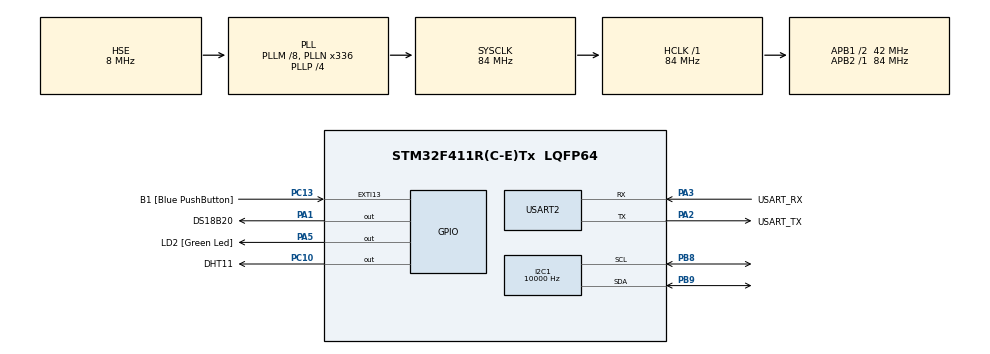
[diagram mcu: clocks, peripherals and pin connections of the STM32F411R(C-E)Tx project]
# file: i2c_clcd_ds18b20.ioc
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I2C1.ClockSpeed=10000
Mcu.Family=STM32F4
Mcu.Name=STM32F411R(C-E)Tx
Mcu.Package=LQFP64
NVIC.PriorityGroup=NVIC_PRIORITYGROUP_0
PA1.GPIO_Label=DS18B20
PA1.Signal=GPIO_Output
PA13.GPIO_Label=TMS
PA13.Mode=Serial_Wire
PA13.Signal=SYS_JTMS-SWDIO
PA14.GPIO_Label=TCK
PA14.Mode=Serial_Wire
PA14.Signal=SYS_JTCK-SWCLK
PA2.GPIO_Label=USART_TX
PA2.Mode=Asynchronous
PA2.Signal=USART2_TX
PA3.GPIO_Label=USART_RX
PA3.Mode=Asynchronous
PA3.Signal=USART2_RX
PA5.GPIO_Label=LD2 [Green Led]
PA5.Signal=GPIO_Output
PB3.GPIO_Label=SWO
PB3.Signal=SYS_JTDO-SWO
PB8.Mode=I2C
PB8.Signal=I2C1_SCL
PB9.Mode=I2C
PB9.Signal=I2C1_SDA
PC10.GPIO_Label=DHT11
PC10.Signal=GPIO_Output
PC13-ANTI_TAMP.GPIO_Label=B1 [Blue PushButton]
PC13-ANTI_TAMP.GPIO_ModeDefaultEXTI=GPIO_MODE_IT_FALLING
PC13-ANTI_TAMP.Signal=GPXTI13
PC14-OSC32_IN.Mode=LSE-External-Oscillator
PC14-OSC32_IN.Signal=RCC_OSC32_IN
PC15-OSC32_OUT.Mode=LSE-External-Oscillator
PC15-OSC32_OUT.Signal=RCC_OSC32_OUT
PH0\ -\ OSC_IN.Mode=HSE-External-Oscillator
PH0\ -\ OSC_IN.Signal=RCC_OSC_IN
PH1\ -\ OSC_OUT.Mode=HSE-External-Oscillator
PH1\ -\ OSC_OUT.Signal=RCC_OSC_OUT
ProjectManager.HeapSize=0x200
ProjectManager.StackSize=0x400
ProjectManager.TargetToolchain=STM32CubeIDE
RCC.48MHZClocksFreq_Value=84000000
RCC.AHBFreq_Value=84000000
RCC.APB1CLKDivider=RCC_HCLK_DIV2
RCC.APB1Freq_Value=42000000
RCC.APB1TimFreq_Value=84000000
RCC.APB2Freq_Value=84000000
RCC.APB2TimFreq_Value=84000000
RCC.CortexFreq_Value=84000000
RCC.FLatency-AdvancedSettings=FLASH_LATENCY_2
RCC.HCLKFreq_Value=84000000
RCC.HSE_VALUE=8000000
RCC.HSI_VALUE=16000000
RCC.PLLM=8
RCC.PLLN=336
RCC.PLLP=RCC_PLLP_DIV4
RCC.PLLSourceVirtual=RCC_PLLSOURCE_HSE
RCC.SYSCLKFreq_VALUE=84000000
RCC.SYSCLKSource=RCC_SYSCLKSOURCE_PLLCLK
RCC.VCOOutputFreq_Value=336000000
USART2.VirtualMode=VM_ASYNC
board=NUCLEO-F411RE

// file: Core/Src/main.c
/* USER CODE BEGIN Header */
/**
 * PORTC10 DHT11
 * PORTB8 I2C1 - SCL(CLCD)
 * PORTB9 I2C1 - SDA(CLCD)
 * PORTA1 DS18B20 Data
  ******************************************************************************
  * @file           : main.c
  * @brief          : Main program body
  ******************************************************************************
  * @attention
  *
  * Copyright (c) 2024 STMicroelectronics.
  * All rights reserved.
  *
  * This software is licensed under terms that can be found in the LICENSE file
  * in the root directory of this software component.
  * If no LICENSE file comes with this software, it is provided AS-IS.
  *
  ******************************************************************************
  */
/* USER CODE END Header */
#include "main.h"
#include "ds18b20.h"

/* USER CODE BEGIN Includes */
#include "stdio.h"
/* USER CODE END Includes */

/* USER CODE BEGIN PD */
#ifdef __GNUC__
/* With GCC, small printf (option LD Linker->Libraries->Small printf
   set to 'Yes') calls __io_putchar() */
#define PUTCHAR_PROTOTYPE int __io_putchar(int ch)
#else
#define PUTCHAR_PROTOTYPE int fputc(int ch, FILE *f)
#endif /* __GNUC__ */
/* USER CODE END PD */

I2C_HandleTypeDef hi2c1;

UART_HandleTypeDef huart2;

void SystemClock_Config(void);
static void MX_GPIO_Init(void);
static void MX_USART2_UART_Init(void);
static void MX_I2C1_Init(void);

int main(void)
{

  /* USER CODE BEGIN 1 */
	uint8_t Presence=0;
	uint8_t Temp_byte1,Temp_byte2;
	uint16_t TEMP;
	float Temperature;
  /* USER CODE END 1 */

  /* MCU Configuration--------------------------------------------------------*/

  /* Reset of all peripherals, Initializes the Flash interface and the Systick. */
  HAL_Init();

  /* Configure the system clock */
  SystemClock_Config();

  /* Initialize all configured peripherals */
  MX_GPIO_Init();
  MX_USART2_UART_Init();
  MX_I2C1_Init();
  /* USER CODE BEGIN 2 */
//  DHT11_Init();
  DS18B20_init();
  LCD_init(&hi2c1);

//  DHT11_TypeDef dht11Data;
  char buff[30];

  printf("start main() ds18b20\r\n");
  LCD_writeStringXY(0, 0, "hello lcd");
  /* USER CODE END 2 */

  /* Infinite loop */
  /* USER CODE BEGIN WHILE */
  while (1)
  {
/*
		dht11Data = DHT11_readData();
		if(dht11Data.status >= 0)
		{
			sprintf(buff,"h: %d%% t: %d.%d'C", dht11Data.rh_byte1, dht11Data.temp_byte1, dht11Data.temp_byte2);
			printf("%s\r\n", buff);
			LCD_writeStringXY(1, 0, buff);
		}
*/
	     Presence = DS18B20_Start ();
	     if(Presence==1)
	     {
			 DS18B20_Write (0xCC);  // skip ROM
			 DS18B20_Write (0x44);  // convert t

			 Presence = DS18B20_Start();
			 if(Presence==1)
			 {
				 DS18B20_Write (0xCC);  // skip ROM
				 DS18B20_Write (0xBE);  // Read Scratch-pad

				 Temp_byte1 = DS18B20_Read();
				 Temp_byte2 = DS18B20_Read();
				 TEMP = ((Temp_byte2<<8))|Temp_byte1;
				 Temperature = (float)TEMP/16.0;  // resolution is 0.0625

				 sprintf(buff,"t: %5.2f'C",Temperature);
				 LCD_writeStringXY(1, 0, buff);
				 printf("%s\r\n", buff);
			 }
	     }
    /* USER CODE END WHILE */

  }
}

void SystemClock_Config(void)
{
  RCC_OscInitTypeDef RCC_OscInitStruct = {0};
  RCC_ClkInitTypeDef RCC_ClkInitStruct = {0};

  /** Configure the main internal regulator output voltage
  */
  __HAL_RCC_PWR_CLK_ENABLE();
  __HAL_PWR_VOLTAGESCALING_CONFIG(PWR_REGULATOR_VOLTAGE_SCALE1);

  /** Initializes the RCC Oscillators according to the specified parameters
  * in the RCC_OscInitTypeDef structure.
  */
  RCC_OscInitStruct.OscillatorType = RCC_OSCILLATORTYPE_HSE;
  RCC_OscInitStruct.HSEState = RCC_HSE_ON;
  RCC_OscInitStruct.PLL.PLLState = RCC_PLL_ON;
  RCC_OscInitStruct.PLL.PLLSource = RCC_PLLSOURCE_HSE;
  RCC_OscInitStruct.PLL.PLLM = 8;
  RCC_OscInitStruct.PLL.PLLN = 336;
  RCC_OscInitStruct.PLL.PLLP = RCC_PLLP_DIV4;
  RCC_OscInitStruct.PLL.PLLQ = 4;
  if (HAL_RCC_OscConfig(&RCC_OscInitStruct) != HAL_OK)
  {
    Error_Handler();
  }

  /** Initializes the CPU, AHB and APB buses clocks
  */
  RCC_ClkInitStruct.ClockType = RCC_CLOCKTYPE_HCLK|RCC_CLOCKTYPE_SYSCLK
                              |RCC_CLOCKTYPE_PCLK1|RCC_CLOCKTYPE_PCLK2;
  RCC_ClkInitStruct.SYSCLKSource = RCC_SYSCLKSOURCE_PLLCLK;
  RCC_ClkInitStruct.AHBCLKDivider = RCC_SYSCLK_DIV1;
  RCC_ClkInitStruct.APB1CLKDivider = RCC_HCLK_DIV2;
  RCC_ClkInitStruct.APB2CLKDivider = RCC_HCLK_DIV1;

  if (HAL_RCC_ClockConfig(&RCC_ClkInitStruct, FLASH_LATENCY_2) != HAL_OK)
  {
    Error_Handler();
  }
}

static void MX_I2C1_Init(void)
{

  hi2c1.Instance = I2C1;
  hi2c1.Init.ClockSpeed = 10000;
  hi2c1.Init.DutyCycle = I2C_DUTYCYCLE_2;
  hi2c1.Init.OwnAddress1 = 0;
  hi2c1.Init.AddressingMode = I2C_ADDRESSINGMODE_7BIT;
  hi2c1.Init.DualAddressMode = I2C_DUALADDRESS_DISABLE;
  hi2c1.Init.OwnAddress2 = 0;
  hi2c1.Init.GeneralCallMode = I2C_GENERALCALL_DISABLE;
  hi2c1.Init.NoStretchMode = I2C_NOSTRETCH_DISABLE;
  if (HAL_I2C_Init(&hi2c1) != HAL_OK)
  {
    Error_Handler();
  }

}

static void MX_USART2_UART_Init(void)
{

  huart2.Instance = USART2;
  huart2.Init.BaudRate = 115200;
  huart2.Init.WordLength = UART_WORDLENGTH_8B;
  huart2.Init.StopBits = UART_STOPBITS_1;
  huart2.Init.Parity = UART_PARITY_NONE;
  huart2.Init.Mode = UART_MODE_TX_RX;
  huart2.Init.HwFlowCtl = UART_HWCONTROL_NONE;
  huart2.Init.OverSampling = UART_OVERSAMPLING_16;
  if (HAL_UART_Init(&huart2) != HAL_OK)
  {
    Error_Handler();
  }

}

static void MX_GPIO_Init(void)
{
  GPIO_InitTypeDef GPIO_InitStruct = {0};

  /* GPIO Ports Clock Enable */
  __HAL_RCC_GPIOC_CLK_ENABLE();
  __HAL_RCC_GPIOH_CLK_ENABLE();
  __HAL_RCC_GPIOA_CLK_ENABLE();
  __HAL_RCC_GPIOB_CLK_ENABLE();

  /*Configure GPIO pin Output Level */
  HAL_GPIO_WritePin(GPIOA, DS18B20_Pin|LD2_Pin, GPIO_PIN_RESET);

  /*Configure GPIO pin Output Level */
  HAL_GPIO_WritePin(DHT11_GPIO_Port, DHT11_Pin, GPIO_PIN_RESET);

  /*Configure GPIO pin : B1_Pin */
  GPIO_InitStruct.Pin = B1_Pin;
  GPIO_InitStruct.Mode = GPIO_MODE_IT_FALLING;
  GPIO_InitStruct.Pull = GPIO_NOPULL;
  HAL_GPIO_Init(B1_GPIO_Port, &GPIO_InitStruct);

  /*Configure GPIO pins : DS18B20_Pin LD2_Pin */
  GPIO_InitStruct.Pin = DS18B20_Pin|LD2_Pin;
  GPIO_InitStruct.Mode = GPIO_MODE_OUTPUT_PP;
  GPIO_InitStruct.Pull = GPIO_NOPULL;
  GPIO_InitStruct.Speed = GPIO_SPEED_FREQ_LOW;
  HAL_GPIO_Init(GPIOA, &GPIO_InitStruct);

  /*Configure GPIO pin : DHT11_Pin */
  GPIO_InitStruct.Pin = DHT11_Pin;
  GPIO_InitStruct.Mode = GPIO_MODE_OUTPUT_PP;
  GPIO_InitStruct.Pull = GPIO_NOPULL;
  GPIO_InitStruct.Speed = GPIO_SPEED_FREQ_LOW;
  HAL_GPIO_Init(DHT11_GPIO_Port, &GPIO_InitStruct);

}

/* USER CODE BEGIN 4 */
/**
  * @brief  Retargets the C library printf function to the USART.
  * @param  None
  * @retval None
  */
PUTCHAR_PROTOTYPE
{
  /* Place your implementation of fputc here */
  /* e.g. write a character to the USART6 and Loop until the end of transmission */
  HAL_UART_Transmit(&huart2, (uint8_t *)&ch, 1, 0xFFFF);

  return ch;
}
/* USER CODE END 4 */

void Error_Handler(void)
{
  __disable_irq();
  while (1)
  {
  }
}
